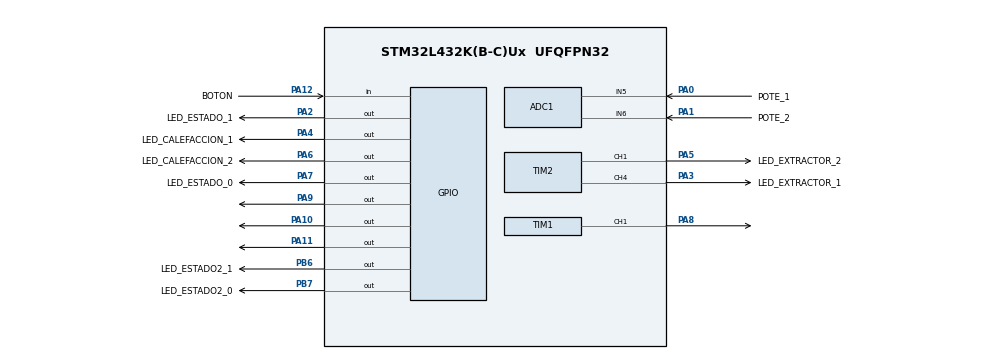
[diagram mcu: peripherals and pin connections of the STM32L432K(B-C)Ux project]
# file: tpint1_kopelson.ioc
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ADC1.Channel-0\#ChannelRegularConversion=ADC_CHANNEL_5
ADC1.NbrOfConversionFlag=1
ADC1.OffsetNumber-0\#ChannelRegularConversion=ADC_OFFSET_NONE
ADC1.Rank-0\#ChannelRegularConversion=1
ADC1.SamplingTime-0\#ChannelRegularConversion=ADC_SAMPLETIME_2CYCLES_5
ADC1.master=1
Mcu.Family=STM32L4
Mcu.Name=STM32L432K(B-C)Ux
Mcu.Package=UFQFPN32
NVIC.PriorityGroup=NVIC_PRIORITYGROUP_4
NVIC.TIM6_DAC_IRQn=true\:0\:0\:false\:false\:true\:true\:true\:true
PA0.GPIO_Label=POTE_1
PA0.Signal=ADCx_IN5
PA1.GPIO_Label=POTE_2
PA1.Signal=ADCx_IN6
PA10.Signal=GPIO_Output
PA11.Signal=GPIO_Output
PA12.GPIO_Label=BOTON
PA12.GPIO_PuPd=GPIO_PULLUP
PA12.Signal=GPIO_Input
PA2.GPIO_Label=LED_ESTADO_1
PA2.Signal=GPIO_Output
PA3.GPIO_Label=LED_EXTRACTOR_1
PA3.Signal=S_TIM2_CH4
PA4.GPIO_Label=LED_CALEFACCION_1
PA4.Signal=GPIO_Output
PA5.GPIO_Label=LED_EXTRACTOR_2
PA5.Signal=S_TIM2_CH1
PA6.GPIO_Label=LED_CALEFACCION_2
PA6.Signal=GPIO_Output
PA7.GPIO_Label=LED_ESTADO_0
PA7.Signal=GPIO_Output
PA8.Signal=S_TIM1_CH1
PA9.Signal=GPIO_Output
PB6.GPIO_FM6=__NULL
PB6.GPIO_Label=LED_ESTADO2_1
PB6.GPIO_Speed=GPIO_SPEED_FREQ_MEDIUM
PB6.Signal=GPIO_Output
PB7.GPIO_FM7=__NULL
PB7.GPIO_Label=LED_ESTADO2_0
PB7.GPIO_Speed=GPIO_SPEED_FREQ_MEDIUM
PB7.Signal=GPIO_Output
ProjectManager.HeapSize=0x200
ProjectManager.StackSize=0x400
ProjectManager.TargetToolchain=STM32CubeIDE
RCC.ADCFreq_Value=32000000
RCC.HSE_VALUE=8000000
RCC.HSI48_VALUE=48000000
RCC.HSI_VALUE=16000000
RCC.LSE_VALUE=32768
RCC.MSI_VALUE=4000000
RCC.PLLSAI1N=16
RCC.USBFreq_Value=32000000
RCC.VCOOutputFreq_Value=32000000
SH.ADCx_IN5.0=ADC1_IN5,IN5-Single-Ended
SH.ADCx_IN6.0=ADC1_IN6,IN6-Single-Ended
SH.S_TIM1_CH1.0=TIM1_CH1,PWM Generation1 CH1
SH.S_TIM2_CH1.0=TIM2_CH1,PWM Generation1 CH1
SH.S_TIM2_CH4.0=TIM2_CH4,PWM Generation4 CH4
TIM1.Channel-PWM\ Generation1\ CH1=TIM_CHANNEL_1
TIM2.AutoReloadPreload=TIM_AUTORELOAD_PRELOAD_DISABLE
TIM2.Channel-PWM\ Generation1\ CH1=TIM_CHANNEL_1
TIM2.Channel-PWM\ Generation4\ CH4=TIM_CHANNEL_4
TIM2.OCFastMode_PWM-PWM\ Generation1\ CH1=TIM_OCFAST_DISABLE
TIM2.OCFastMode_PWM-PWM\ Generation4\ CH4=TIM_OCFAST_DISABLE
VP_TIM6_VS_ClockSourceINT.Mode=Enable_Timer
board=custom

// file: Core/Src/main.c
/* USER CODE BEGIN Header */
/**
  ******************************************************************************
  * @file           : main.c
  * @brief          : Main program body
  ******************************************************************************
  * @attention
  *
  * Copyright (c) 2025 STMicroelectronics.
  * All rights reserved.
  *
  * This software is licensed under terms that can be found in the LICENSE file
  * in the root directory of this software component.
  * If no LICENSE file comes with this software, it is provided AS-IS.
  *
  ******************************************************************************
  */
/* USER CODE END Header */
#include "main.h"

ADC_HandleTypeDef hadc1;

TIM_HandleTypeDef htim1;
TIM_HandleTypeDef htim2;
TIM_HandleTypeDef htim6;

void SystemClock_Config(void);
static void MX_GPIO_Init(void);
static void MX_TIM6_Init(void);
static void MX_ADC1_Init(void);
static void MX_TIM2_Init(void);
static void MX_TIM1_Init(void);

/* USER CODE BEGIN 0 */

int boton, flag = 0;
int16_t datomap1,datomap2,datopote1,datopote2 = 0;
void LeerPote();

void TIM6_DAC_IRQHandler(void)
{
  /* USER CODE BEGIN TIM6_DAC_IRQn 0 */
	 if (TIM6->SR & TIM_SR_UIF) {
	    TIM6->SR &= ~TIM_SR_UIF; // Limpio flag

	 if (flag == 1) {
		 LeerPote();   // solo se activa la lectura del conversor si el boton está encendido. sino no lee.
		               // justamente como lo plantié en el diagrama en el examen teórico.
	 }
}

  /* USER CODE END TIM6_DAC_IRQn 0 */
  HAL_TIM_IRQHandler(&htim6);
  /* USER CODE BEGIN TIM6_DAC_IRQn 1 */

  /* USER CODE END TIM6_DAC_IRQn 1 */
}
/* USER CODE END 0 */

int main(void)
{

  /* MCU Configuration--------------------------------------------------------*/

  /* Reset of all peripherals, Initializes the Flash interface and the Systick. */
  HAL_Init();

  /* Configure the system clock */
  SystemClock_Config();

  /* Initialize all configured peripherals */
  MX_GPIO_Init();
  MX_TIM6_Init();
  MX_ADC1_Init();
  MX_TIM2_Init();
  MX_TIM1_Init();
  /* USER CODE BEGIN 2 */

/* Habilito relojes de buses */

  RCC->AHB2ENR |= RCC_AHB2ENR_GPIOAEN;
  RCC->AHB2ENR |= RCC_AHB2ENR_GPIOBEN;
  RCC->APB1ENR1 |= RCC_APB1ENR1_TIM2EN | RCC_APB1ENR1_TIM6EN;
  RCC->AHB2ENR |= RCC_AHB2ENR_ADCEN;
  RCC->CCIPR |= RCC_CCIPR_ADCSEL;

  //puse estos 4 xq no hay chance de hacer andar los otros 2 pines de led estado q puse anteriormente... y no detecté la falla a tiempo.
  //ACTUALIZACIÓN POST MUESTRA funcionando perfectamente con los nuevos pines asignados
  //ERA QUE INTERNAMENTE ESTABAN CONECTADOS LOS PINES. Entonces al querer tocar de uno movia cosas del otro.

  /* NUEVO LED_ESTADO_0 -- PIN d1 [PA_9] -- SALIDA */

    GPIOA->MODER |= GPIO_MODER_MODE9_0;           //modo de salida, pushpull y que arranque apagado.
    GPIOA->MODER &= ~GPIO_MODER_MODE9_1;
    GPIOA->OTYPER &= ~GPIO_OTYPER_OT9;
    GPIOA->BSRR |= GPIO_BSRR_BR9;

    /* NUEVO LED_ESTADO_1 -- PIN d0 [PA_10] -- SALIDA */

    GPIOA->MODER |= GPIO_MODER_MODE10_0;           //modo de salida, pushpull y que arranque apagado.
    GPIOA->MODER &= ~GPIO_MODER_MODE10_1;
    GPIOA->OTYPER &= ~GPIO_OTYPER_OT10;
    GPIOA->BSRR |= GPIO_BSRR_BR10;

    /* NUEVO LED_CALEF2 -- PIN d0 [PA_11] -- SALIDA */

        GPIOA->MODER |= GPIO_MODER_MODE11_0;           //modo de salida, pushpull y que arranque apagado.
        GPIOA->MODER &= ~GPIO_MODER_MODE11_1;
        GPIOA->OTYPER &= ~GPIO_OTYPER_OT11;
        GPIOA->BSRR |= GPIO_BSRR_BR11;

    /*  NUEVO PA8 -- PIN d9 [PA_8] -- SALIDA PWM AF */
        GPIOA->MODER &= ~GPIO_MODER_MODE8_Msk;               // modo alternate funcion, pushpull
        GPIOA->MODER |= GPIO_MODER_MODE8_1;
        GPIOA->AFR[1] &= ~GPIO_AFRH_AFSEL8_Msk;
        GPIOA->AFR[1] |= (1 << GPIO_AFRH_AFSEL8_Pos);
        GPIOA->OTYPER &= ~GPIO_OTYPER_OT8;
        GPIOA->OSPEEDR |= GPIO_OSPEEDR_OSPEED8_Msk;

/* BOTON (ON/OFF) -- PIN D2 [PA_12] -- ENTRADA */

  GPIOA->MODER &= ~GPIO_MODER_MODE12;   // configuro entrada y pullup con resistencia externa
  GPIOA->PUPDR |= GPIO_PUPDR_PUPD12_0;
  GPIOA->PUPDR &= ~GPIO_PUPDR_PUPD12_1;

/* LED_ESTADO_0 -- PIN A6 [PA_7] -- SALIDA */

  GPIOA->MODER |= GPIO_MODER_MODE7_0;          //modo de salida, pushpull y que arranque apagado.
  GPIOA->MODER &= ~GPIO_MODER_MODE7_1;
  GPIOA->OTYPER &= ~GPIO_OTYPER_OT7;
  GPIOA->BSRR |= GPIO_BSRR_BR7;

/* LED_ESTADO_1 -- PIN A7 [PA_2] -- SALIDA */

  GPIOA->MODER |= GPIO_MODER_MODE2_0;    //modo de salida, pushpull y que arranque apagado.
  GPIOA->MODER &= ~GPIO_MODER_MODE2_1;
  GPIOA->OTYPER &= ~GPIO_OTYPER_OT2;
  GPIOA->BSRR |= GPIO_BSRR_BR2;

/* LED_ESTADO2_0 -- PIN D4 [PB_7] -- SALIDA */

  GPIOB->MODER |= GPIO_MODER_MODE7_0;    //modo de salida, pushpull y que arranque apagado.
  GPIOB->MODER &= ~GPIO_MODER_MODE7_1;
  GPIOB->OTYPER &= ~GPIO_OTYPER_OT7;
  GPIOB->BSRR |= GPIO_BSRR_BR7;

/* LED_ESTADO2_1 -- PIN D5 [PB_6] -- SALIDA */

  GPIOB->MODER |= GPIO_MODER_MODE6_0;  //modo de salida, pushpull y que arranque apagado.
  GPIOB->MODER &= ~GPIO_MODER_MODE6_1;
  GPIOB->OTYPER &= ~GPIO_OTYPER_OT6;
  GPIOB->BSRR |= GPIO_BSRR_BR6;

/* LED_CALEFACCION_1 -- PIN A3 [PA_4] -- SALIDA */

  GPIOA->MODER |= GPIO_MODER_MODE4_0;  //modo de salida, pushpull y que arranque apagado.
  GPIOA->MODER &= ~GPIO_MODER_MODE4_1;
  GPIOA->OTYPER &= ~GPIO_OTYPER_OT4;
  GPIOA->BSRR |= GPIO_BSRR_BR4;

/* LED_CALEFACCION_2 -- PIN A4 [PA_6] -- SALIDA */

  GPIOA->MODER |= GPIO_MODER_MODE6_0;  //modo de salida, pushpull y que arranque apagado.
  GPIOA->MODER &= ~GPIO_MODER_MODE6_1;
  GPIOA->OTYPER &= ~GPIO_OTYPER_OT6;
  GPIOA->BSRR |= GPIO_BSRR_BR6;

/* LED_EXTRACTOR_1 -- PIN A2 [PA_3] -- SALIDA PWM AF */

  GPIOA->MODER |= GPIO_MODER_MODE3_1;           // Modo alternate function y pushpull
  GPIOA->MODER &= ~GPIO_MODER_MODE3_0;
  GPIOA->AFR[0] |=  (1 << GPIO_AFRL_AFSEL3_Pos);
  GPIOA->OTYPER &= ~GPIO_OTYPER_OT3;

/* LED_EXTRACTOR_2 -- PIN A5 [PA_5] -- SALIDA PWM AF */

  GPIOA->MODER |= GPIO_MODER_MODE5_1;              // Modo alternate function y pushpull
  GPIOA->MODER &= ~GPIO_MODER_MODE5_0;
  GPIOA->AFR[0] |= (1 << GPIO_AFRL_AFSEL5_Pos);
  GPIOA->OTYPER &= ~GPIO_OTYPER_OT5;

/* POTE_1 -- PIN A0 [PA_0] -- ADC ENTRADA */

  GPIOA->MODER |= GPIO_MODER_MODE0;             // PA0 en modo analógico
  GPIOA->PUPDR &= ~GPIO_PUPDR_PUPD0;            // Sin pull-up/down

/* POTE_2 -- PIN A1 [PA_1] -- ADC ENTRADA */

  GPIOA->MODER |= GPIO_MODER_MODE1;             // PA1 en modo analógico
  GPIOA->PUPDR &= ~GPIO_PUPDR_PUPD1;            // Sin pull-up/down

  /* Inicializo los timers aca */

  // TIM2 (1khz ya q en el examen calculé eso, aprovecho los valores dados ja!)
  // los del tim2 canal 1 estan comentados porque use otro pin para el pwm. que es el tim1. asi q no me sirve,
  //esto es por lo q explique arriba, pero podría haber funcionado tranquilamente.
  TIM2->PSC = 39;
  TIM2->ARR = 99;
//  TIM2->CCR1 = 0;
  TIM2->CCR4 = 0; // 50% duty por defecto
//  TIM2->CCMR1 |= TIM_CCMR1_OC1M_1 | TIM_CCMR1_OC1M_2; // PWM mode 1
//  TIM2->CCMR1 |= TIM_CCMR1_OC1PE;                     // Preload enable
  TIM2->CCMR2 |= TIM_CCMR2_OC4M_1 | TIM_CCMR2_OC4M_2; // PWM mode 1
  TIM2->CCMR2 |= TIM_CCMR2_OC4PE;    // Preload enable
  TIM2->CCER |= TIM_CCER_CC4E;       // Enable output
//  TIM2->CCER  |= TIM_CCER_CC1E;      // Enable output
  TIM2->CR1 |= TIM_CR1_CEN;          // Enable timer

// TIM6 (cada medio seg) para lectura del adc
  NVIC->ISER[1] |= (1 << 22);
  TIM6->PSC = 999;
  TIM6->ARR = 1999;
  TIM6->DIER |= TIM_DIER_UIE;
  TIM6->CR1 |= TIM_CR1_CEN;

//TIM1 prueba para el pin nuevo q agregué para reemplazar el anterior. es tim1 xq a ese pin le corresponde tim1_ch1
  TIM1->PSC = 39;
  TIM1->ARR = 99;
  TIM1->CCR1 = 0;  // 50% duty cycle
  TIM1->CCMR1 &= ~TIM_CCMR1_OC1M;  // Limpio los bits del modo
  TIM1->CCMR1 |= (6 << TIM_CCMR1_OC1M_Pos); // PWM mode 1
  TIM1->CCMR1 |= TIM_CCMR1_OC1PE;  // Preload enable
  TIM1->CCER |= TIM_CCER_CC1E;     // Habilita la salida del canal 1
  TIM1->CR1  |= TIM_CR1_CEN;       // Habilita el contador
  TIM1->BDTR |= TIM_BDTR_MOE;      // Habilita salidas del timer (necesario en timers avanzados como TIM1)

  //Configuro ADC
     ADC1->CR &=~ADC_CR_DEEPPWD;//Para que salga del estado deep sleep
     ADC1->CR |=ADC_CR_ADVREGEN;//REG INT DE VOLTAJE
     HAL_Delay(50);//delay para que se estabilice el reg de voltaje antes de convertir
     ADC1->CFGR &= ~ADC_CFGR_EXTEN;
     ADC1->CFGR &= ~ADC_CFGR_RES; //res de 12 bits
     ADC1->CFGR &= ~ADC_CFGR_ALIGN; //ALINEACION X DER
     ADC1->CFGR &= ~ADC_CFGR_CONT; //SETEO SINGLE CONVERSION

  // config entradas
     ADC1->SMPR1 |= (3 << ADC_SMPR1_SMP5_Pos); // Por ejemplo 24.5 ciclos
     ADC1->SMPR1 |= (3 << ADC_SMPR1_SMP6_Pos); // Igual tiempo para ambos
     ADC1->SQR1 &= ~ADC_SQR1_L;
     ADC1->SQR1 |= ADC_SQR1_L_0;
     ADC1->SQR1 &= ~ADC_SQR1_SQ1;
     ADC1->SQR1 |= (5 << ADC_SQR1_SQ1_Pos);    // canal 5
     ADC1->SQR1 &= ~ADC_SQR1_SQ2;
     ADC1->SQR1 |= (6 << ADC_SQR1_SQ2_Pos);    // canal 6

     ADC1->CR |=ADC_CR_ADEN;

  /* USER CODE END 2 */

  /* Infinite loop */
  /* USER CODE BEGIN WHILE */
  while (1)
  {
	  boton = HAL_GPIO_ReadPin(GPIOA,GPIO_PIN_12);

	  if (boton == GPIO_PIN_RESET) // Botón presionado (0 lógico ya que tengo logica pullup)
	          {
		       flag = 1; // activa la conversión

		       // esto es para la del ambiente 1
		       if (datomap1 <= 5) {
		                      TIM2->CCR4 = 0; //pwm off
		                      HAL_GPIO_WritePin(GPIOA, GPIO_PIN_4, GPIO_PIN_SET); //led calefaccion
		                      HAL_GPIO_WritePin(GPIOA, GPIO_PIN_2, GPIO_PIN_SET); //led estado 1
		                      HAL_GPIO_WritePin(GPIOA, GPIO_PIN_7, GPIO_PIN_RESET); // led estado 0
		                      }

		                      if ((datomap1 > 5) & (datomap1 <=20) ) {
		                      TIM2->CCR4 = 0; //pwm off
		                      HAL_GPIO_WritePin(GPIOA, GPIO_PIN_4, GPIO_PIN_RESET); //led calefaccion
		                      HAL_GPIO_WritePin(GPIOA, GPIO_PIN_2, GPIO_PIN_RESET); //led estado 1
		                      HAL_GPIO_WritePin(GPIOA, GPIO_PIN_7, GPIO_PIN_SET); //led estado 0

		                      }

		                      if ((datomap1 > 20) & (datomap1 <=30) ) {
		                      TIM2->CCR4 = 40; //pwm 40%
		                      HAL_GPIO_WritePin(GPIOA, GPIO_PIN_4, GPIO_PIN_RESET); //led calefaccion
		                      HAL_GPIO_WritePin(GPIOA, GPIO_PIN_2, GPIO_PIN_SET); //led estado 1
		                      HAL_GPIO_WritePin(GPIOA, GPIO_PIN_7, GPIO_PIN_SET); //led estado 0
		                      }

		                      if ((datomap1 > 30) & (datomap1 <=35) ) {
		                      TIM2->CCR4 = 60; //pwm 60%
		                      HAL_GPIO_WritePin(GPIOA, GPIO_PIN_4, GPIO_PIN_RESET); //led calefaccion
		                      HAL_GPIO_WritePin(GPIOA, GPIO_PIN_2, GPIO_PIN_SET); //led estado 1
		                      HAL_GPIO_WritePin(GPIOA, GPIO_PIN_7, GPIO_PIN_SET); //led estado 0
		                      }

		                      if (datomap1 > 35) {
		                      TIM2->CCR4 = 100; //pwm 100%
		                      HAL_GPIO_WritePin(GPIOA, GPIO_PIN_4, GPIO_PIN_RESET); //led calefaccion
		                      HAL_GPIO_WritePin(GPIOA, GPIO_PIN_2, GPIO_PIN_SET); //led estado 1
		                      HAL_GPIO_WritePin(GPIOA, GPIO_PIN_7, GPIO_PIN_SET); //led estado 0
		                      }

               // esto es para la del ambiente 2
               // aqui tmb deje comentado lo de los pines que use antes, para que quede en evidencia de que intenté pero bueno, ya era una cuestion interna al stm32
               // la logica era correcta y estaba todoo bien seteado.

               if (datomap2 <= 5) {
//                                 TIM2->CCR1 = 0; // pwm off
//                                  HAL_GPIO_WritePin(GPIOA, GPIO_PIN_6, GPIO_PIN_SET); // led calefaccion2
//                                  HAL_GPIO_WritePin(GPIOB, GPIO_PIN_6, GPIO_PIN_SET); // led estado2 1
//                                  HAL_GPIO_WritePin(GPIOB, GPIO_PIN_7, GPIO_PIN_RESET); // led estado2 0
            	   TIM1->CCR1 = 0; // pwm off
            	   HAL_GPIO_WritePin(GPIOA, GPIO_PIN_11, GPIO_PIN_SET); //nuevo led calefaccion
            	   HAL_GPIO_WritePin(GPIOA, GPIO_PIN_9, GPIO_PIN_RESET); //NUEVO led estado2
            	   HAL_GPIO_WritePin(GPIOA, GPIO_PIN_10, GPIO_PIN_SET); //NUEVO led estado2
                              }

               if ((datomap2 > 5) & (datomap2 <= 20)) {
//                                  TIM2->CCR1 = 0; // pwm off
//                                  HAL_GPIO_WritePin(GPIOA, GPIO_PIN_6, GPIO_PIN_RESET); // led calefaccion2
//                                  HAL_GPIO_WritePin(GPIOB, GPIO_PIN_6, GPIO_PIN_RESET); // led estado2 1
//                                  HAL_GPIO_WritePin(GPIOB, GPIO_PIN_7, GPIO_PIN_SET); // led estado2 0
            	   TIM1->CCR1 = 0; // pwm off
            	   HAL_GPIO_WritePin(GPIOA, GPIO_PIN_11, GPIO_PIN_RESET); //nuevo led calefaccion
            	   HAL_GPIO_WritePin(GPIOA, GPIO_PIN_9, GPIO_PIN_SET);//NUEVO led estado2
            	   HAL_GPIO_WritePin(GPIOA, GPIO_PIN_10, GPIO_PIN_RESET);//NUEVO led estado2
                              }

               if ((datomap2 > 20) & (datomap2 <= 30)) {
//                                  TIM2->CCR1 = 40; // pwm 40%
//                                  HAL_GPIO_WritePin(GPIOA, GPIO_PIN_6, GPIO_PIN_RESET); // led calefaccion2
//                                  HAL_GPIO_WritePin(GPIOB, GPIO_PIN_6, GPIO_PIN_SET); // led estado2 1
//                                  HAL_GPIO_WritePin(GPIOB, GPIO_PIN_7, GPIO_PIN_SET); // led estado2 0
            	   TIM1->CCR1 = 40; // pwm 40%
            	   HAL_GPIO_WritePin(GPIOA, GPIO_PIN_11, GPIO_PIN_RESET); //nuevo led calefaccion
            	   HAL_GPIO_WritePin(GPIOA, GPIO_PIN_9, GPIO_PIN_SET);//NUEVO led estado2
            	   HAL_GPIO_WritePin(GPIOA, GPIO_PIN_10, GPIO_PIN_SET);//NUEVO led estado2
                              }

              if ((datomap2 > 30) & (datomap2 <= 35)) {
//                                  TIM2->CCR1 = 60; // pwm 60%
//                                  HAL_GPIO_WritePin(GPIOA, GPIO_PIN_6, GPIO_PIN_RESET); // led calefaccion2
//                                  HAL_GPIO_WritePin(GPIOB, GPIO_PIN_6, GPIO_PIN_SET); // led estado2 1
//                                  HAL_GPIO_WritePin(GPIOB, GPIO_PIN_7, GPIO_PIN_SET); // led estado2 0
            	  TIM1->CCR1 = 60; // pwm 60%
            	  HAL_GPIO_WritePin(GPIOA, GPIO_PIN_11, GPIO_PIN_RESET); //nuevo led calefaccion
            	  HAL_GPIO_WritePin(GPIOA, GPIO_PIN_9, GPIO_PIN_SET);//NUEVO led estado2
            	  HAL_GPIO_WritePin(GPIOA, GPIO_PIN_10, GPIO_PIN_SET);//NUEVO led estado2
                              }

              if (datomap2 > 35) {
//                                  TIM2->CCR1 = 100; // pwm 100%
//                                  HAL_GPIO_WritePin(GPIOA, GPIO_PIN_6, GPIO_PIN_RESET); // led calefaccion2
//                                  HAL_GPIO_WritePin(GPIOB, GPIO_PIN_6, GPIO_PIN_SET); // led estado2 1
//                                  HAL_GPIO_WritePin(GPIOB, GPIO_PIN_7, GPIO_PIN_SET); // led estado2 0
            	  TIM1->CCR1 = 100; // pwm 100%
            	  HAL_GPIO_WritePin(GPIOA, GPIO_PIN_11, GPIO_PIN_RESET); //nuevo led calefaccion
            	  HAL_GPIO_WritePin(GPIOA, GPIO_PIN_9, GPIO_PIN_SET);//NUEVO led estado2
            	  HAL_GPIO_WritePin(GPIOA, GPIO_PIN_10, GPIO_PIN_SET);//NUEVO led estado2

                              }
	          }

	   else // Botón no presionado (1 lógico) BASICAMENTE APAGO TODO.
		   {
	            flag = 0;
	            TIM2->CCR4 = 0; //pwm 0%
	            TIM1->CCR1 = 0; //pwm 0%
//	            TIM2->CCR1 = 0; //pwm 0%
	            HAL_GPIO_WritePin(GPIOA, GPIO_PIN_4, GPIO_PIN_RESET); //led calefaccion
	            HAL_GPIO_WritePin(GPIOA, GPIO_PIN_2, GPIO_PIN_RESET); //led estado 1
	            HAL_GPIO_WritePin(GPIOA, GPIO_PIN_7, GPIO_PIN_RESET); //led estado 0
	            HAL_GPIO_WritePin(GPIOA, GPIO_PIN_6, GPIO_PIN_RESET); //led calefaccion2
                HAL_GPIO_WritePin(GPIOB, GPIO_PIN_6, GPIO_PIN_RESET); //led estado2 1
	            HAL_GPIO_WritePin(GPIOB, GPIO_PIN_7, GPIO_PIN_RESET); //led estado2 0
	            HAL_GPIO_WritePin(GPIOA, GPIO_PIN_9, GPIO_PIN_RESET);//NUEVO led estado2
	            HAL_GPIO_WritePin(GPIOA, GPIO_PIN_10, GPIO_PIN_RESET);//NUEVO led estado2
	            HAL_GPIO_WritePin(GPIOA, GPIO_PIN_11, GPIO_PIN_RESET);//nuevo led calefaccion
	          }

    /* USER CODE END WHILE */

  }
}

void SystemClock_Config(void)
{
  RCC_OscInitTypeDef RCC_OscInitStruct = {0};
  RCC_ClkInitTypeDef RCC_ClkInitStruct = {0};

  /** Configure the main internal regulator output voltage
  */
  if (HAL_PWREx_ControlVoltageScaling(PWR_REGULATOR_VOLTAGE_SCALE1) != HAL_OK)
  {
    Error_Handler();
  }

  /** Initializes the RCC Oscillators according to the specified parameters
  * in the RCC_OscInitTypeDef structure.
  */
  RCC_OscInitStruct.OscillatorType = RCC_OSCILLATORTYPE_MSI;
  RCC_OscInitStruct.MSIState = RCC_MSI_ON;
  RCC_OscInitStruct.MSICalibrationValue = 0;
  RCC_OscInitStruct.MSIClockRange = RCC_MSIRANGE_6;
  RCC_OscInitStruct.PLL.PLLState = RCC_PLL_NONE;
  if (HAL_RCC_OscConfig(&RCC_OscInitStruct) != HAL_OK)
  {
    Error_Handler();
  }

  /** Initializes the CPU, AHB and APB buses clocks
  */
  RCC_ClkInitStruct.ClockType = RCC_CLOCKTYPE_HCLK|RCC_CLOCKTYPE_SYSCLK
                              |RCC_CLOCKTYPE_PCLK1|RCC_CLOCKTYPE_PCLK2;
  RCC_ClkInitStruct.SYSCLKSource = RCC_SYSCLKSOURCE_MSI;
  RCC_ClkInitStruct.AHBCLKDivider = RCC_SYSCLK_DIV1;
  RCC_ClkInitStruct.APB1CLKDivider = RCC_HCLK_DIV1;
  RCC_ClkInitStruct.APB2CLKDivider = RCC_HCLK_DIV1;

  if (HAL_RCC_ClockConfig(&RCC_ClkInitStruct, FLASH_LATENCY_0) != HAL_OK)
  {
    Error_Handler();
  }
}

static void MX_ADC1_Init(void)
{

  ADC_ChannelConfTypeDef sConfig = {0};

  /** Common config
  */
  hadc1.Instance = ADC1;
  hadc1.Init.ClockPrescaler = ADC_CLOCK_ASYNC_DIV1;
  hadc1.Init.Resolution = ADC_RESOLUTION_12B;
  hadc1.Init.DataAlign = ADC_DATAALIGN_RIGHT;
  hadc1.Init.ScanConvMode = ADC_SCAN_DISABLE;
  hadc1.Init.EOCSelection = ADC_EOC_SINGLE_CONV;
  hadc1.Init.LowPowerAutoWait = DISABLE;
  hadc1.Init.ContinuousConvMode = DISABLE;
  hadc1.Init.NbrOfConversion = 1;
  hadc1.Init.DiscontinuousConvMode = DISABLE;
  hadc1.Init.ExternalTrigConv = ADC_SOFTWARE_START;
  hadc1.Init.ExternalTrigConvEdge = ADC_EXTERNALTRIGCONVEDGE_NONE;
  hadc1.Init.DMAContinuousRequests = DISABLE;
  hadc1.Init.Overrun = ADC_OVR_DATA_PRESERVED;
  hadc1.Init.OversamplingMode = DISABLE;
  if (HAL_ADC_Init(&hadc1) != HAL_OK)
  {
    Error_Handler();
  }

  /** Configure Regular Channel
  */
  sConfig.Channel = ADC_CHANNEL_5;
  sConfig.Rank = ADC_REGULAR_RANK_1;
  sConfig.SamplingTime = ADC_SAMPLETIME_2CYCLES_5;
  sConfig.SingleDiff = ADC_SINGLE_ENDED;
  sConfig.OffsetNumber = ADC_OFFSET_NONE;
  sConfig.Offset = 0;
  if (HAL_ADC_ConfigChannel(&hadc1, &sConfig) != HAL_OK)
  {
    Error_Handler();
  }

}

static void MX_TIM1_Init(void)
{

  TIM_MasterConfigTypeDef sMasterConfig = {0};
  TIM_OC_InitTypeDef sConfigOC = {0};
  TIM_BreakDeadTimeConfigTypeDef sBreakDeadTimeConfig = {0};

  htim1.Instance = TIM1;
  htim1.Init.Prescaler = 0;
  htim1.Init.CounterMode = TIM_COUNTERMODE_UP;
  htim1.Init.Period = 65535;
  htim1.Init.ClockDivision = TIM_CLOCKDIVISION_DIV1;
  htim1.Init.RepetitionCounter = 0;
  htim1.Init.AutoReloadPreload = TIM_AUTORELOAD_PRELOAD_DISABLE;
  if (HAL_TIM_PWM_Init(&htim1) != HAL_OK)
  {
    Error_Handler();
  }
  sMasterConfig.MasterOutputTrigger = TIM_TRGO_RESET;
  sMasterConfig.MasterOutputTrigger2 = TIM_TRGO2_RESET;
  sMasterConfig.MasterSlaveMode = TIM_MASTERSLAVEMODE_DISABLE;
  if (HAL_TIMEx_MasterConfigSynchronization(&htim1, &sMasterConfig) != HAL_OK)
  {
    Error_Handler();
  }
  sConfigOC.OCMode = TIM_OCMODE_PWM1;
  sConfigOC.Pulse = 0;
  sConfigOC.OCPolarity = TIM_OCPOLARITY_HIGH;
  sConfigOC.OCNPolarity = TIM_OCNPOLARITY_HIGH;
  sConfigOC.OCFastMode = TIM_OCFAST_DISABLE;
  sConfigOC.OCIdleState = TIM_OCIDLESTATE_RESET;
  sConfigOC.OCNIdleState = TIM_OCNIDLESTATE_RESET;
  if (HAL_TIM_PWM_ConfigChannel(&htim1, &sConfigOC, TIM_CHANNEL_1) != HAL_OK)
  {
    Error_Handler();
  }
  sBreakDeadTimeConfig.OffStateRunMode = TIM_OSSR_DISABLE;
  sBreakDeadTimeConfig.OffStateIDLEMode = TIM_OSSI_DISABLE;
  sBreakDeadTimeConfig.LockLevel = TIM_LOCKLEVEL_OFF;
  sBreakDeadTimeConfig.DeadTime = 0;
  sBreakDeadTimeConfig.BreakState = TIM_BREAK_DISABLE;
  sBreakDeadTimeConfig.BreakPolarity = TIM_BREAKPOLARITY_HIGH;
  sBreakDeadTimeConfig.BreakFilter = 0;
  sBreakDeadTimeConfig.Break2State = TIM_BREAK2_DISABLE;
  sBreakDeadTimeConfig.Break2Polarity = TIM_BREAK2POLARITY_HIGH;
  sBreakDeadTimeConfig.Break2Filter = 0;
  sBreakDeadTimeConfig.AutomaticOutput = TIM_AUTOMATICOUTPUT_DISABLE;
  if (HAL_TIMEx_ConfigBreakDeadTime(&htim1, &sBreakDeadTimeConfig) != HAL_OK)
  {
    Error_Handler();
  }
  HAL_TIM_MspPostInit(&htim1);

}

static void MX_TIM2_Init(void)
{

  TIM_MasterConfigTypeDef sMasterConfig = {0};
  TIM_OC_InitTypeDef sConfigOC = {0};

  htim2.Instance = TIM2;
  htim2.Init.Prescaler = 0;
  htim2.Init.CounterMode = TIM_COUNTERMODE_UP;
  htim2.Init.Period = 4294967295;
  htim2.Init.ClockDivision = TIM_CLOCKDIVISION_DIV1;
  htim2.Init.AutoReloadPreload = TIM_AUTORELOAD_PRELOAD_DISABLE;
  if (HAL_TIM_PWM_Init(&htim2) != HAL_OK)
  {
    Error_Handler();
  }
  sMasterConfig.MasterOutputTrigger = TIM_TRGO_RESET;
  sMasterConfig.MasterSlaveMode = TIM_MASTERSLAVEMODE_DISABLE;
  if (HAL_TIMEx_MasterConfigSynchronization(&htim2, &sMasterConfig) != HAL_OK)
  {
    Error_Handler();
  }
  sConfigOC.OCMode = TIM_OCMODE_PWM1;
  sConfigOC.Pulse = 0;
  sConfigOC.OCPolarity = TIM_OCPOLARITY_HIGH;
  sConfigOC.OCFastMode = TIM_OCFAST_DISABLE;
  if (HAL_TIM_PWM_ConfigChannel(&htim2, &sConfigOC, TIM_CHANNEL_1) != HAL_OK)
  {
    Error_Handler();
  }
  if (HAL_TIM_PWM_ConfigChannel(&htim2, &sConfigOC, TIM_CHANNEL_4) != HAL_OK)
  {
    Error_Handler();
  }
  HAL_TIM_MspPostInit(&htim2);

}

static void MX_TIM6_Init(void)
{

  TIM_MasterConfigTypeDef sMasterConfig = {0};

  htim6.Instance = TIM6;
  htim6.Init.Prescaler = 0;
  htim6.Init.CounterMode = TIM_COUNTERMODE_UP;
  htim6.Init.Period = 65535;
  htim6.Init.AutoReloadPreload = TIM_AUTORELOAD_PRELOAD_DISABLE;
  if (HAL_TIM_Base_Init(&htim6) != HAL_OK)
  {
    Error_Handler();
  }
  sMasterConfig.MasterOutputTrigger = TIM_TRGO_RESET;
  sMasterConfig.MasterSlaveMode = TIM_MASTERSLAVEMODE_DISABLE;
  if (HAL_TIMEx_MasterConfigSynchronization(&htim6, &sMasterConfig) != HAL_OK)
  {
    Error_Handler();
  }

}

static void MX_GPIO_Init(void)
{
  GPIO_InitTypeDef GPIO_InitStruct = {0};

  /* GPIO Ports Clock Enable */
  __HAL_RCC_GPIOA_CLK_ENABLE();
  __HAL_RCC_GPIOB_CLK_ENABLE();

  /*Configure GPIO pin Output Level */
  HAL_GPIO_WritePin(GPIOA, LED_ESTADO_1_Pin|LED_CALEFACCION_1_Pin|LED_CALEFACCION_2_Pin|LED_ESTADO_0_Pin
                          |GPIO_PIN_9|GPIO_PIN_10|GPIO_PIN_11, GPIO_PIN_RESET);

  /*Configure GPIO pin Output Level */
  HAL_GPIO_WritePin(GPIOB, LED_ESTADO2_1_Pin|LED_ESTADO2_0_Pin, GPIO_PIN_RESET);

  /*Configure GPIO pins : LED_ESTADO_1_Pin LED_CALEFACCION_1_Pin LED_CALEFACCION_2_Pin LED_ESTADO_0_Pin
                           PA9 PA10 PA11 */
  GPIO_InitStruct.Pin = LED_ESTADO_1_Pin|LED_CALEFACCION_1_Pin|LED_CALEFACCION_2_Pin|LED_ESTADO_0_Pin
                          |GPIO_PIN_9|GPIO_PIN_10|GPIO_PIN_11;
  GPIO_InitStruct.Mode = GPIO_MODE_OUTPUT_PP;
  GPIO_InitStruct.Pull = GPIO_NOPULL;
  GPIO_InitStruct.Speed = GPIO_SPEED_FREQ_LOW;
  HAL_GPIO_Init(GPIOA, &GPIO_InitStruct);

  /*Configure GPIO pin : BOTON_Pin */
  GPIO_InitStruct.Pin = BOTON_Pin;
  GPIO_InitStruct.Mode = GPIO_MODE_INPUT;
  GPIO_InitStruct.Pull = GPIO_PULLUP;
  HAL_GPIO_Init(BOTON_GPIO_Port, &GPIO_InitStruct);

  /*Configure GPIO pins : LED_ESTADO2_1_Pin LED_ESTADO2_0_Pin */
  GPIO_InitStruct.Pin = LED_ESTADO2_1_Pin|LED_ESTADO2_0_Pin;
  GPIO_InitStruct.Mode = GPIO_MODE_OUTPUT_PP;
  GPIO_InitStruct.Pull = GPIO_NOPULL;
  GPIO_InitStruct.Speed = GPIO_SPEED_FREQ_MEDIUM;
  HAL_GPIO_Init(GPIOB, &GPIO_InitStruct);

}

/* USER CODE BEGIN 4 */
void LeerPote(void) {
// basicamente la funcion esta hace la lectura de ambos potes, primero le un pote espera a que convierta
// y luego guarda el valor, limpio, selecciono el otro canal del adc y convierto en el otro y guardo el valor.

	ADC1->SQR1 &= ~ ADC_SQR1_SQ1; //LIMPIO
    ADC1->SQR1 = (5 << ADC_SQR1_SQ1_Pos);  // Canal 5 en la primera conversión
    ADC1->CR |= ADC_CR_ADSTART;            // Iniciar conversión

    while ((ADC1->ISR & ADC_ISR_EOC) == 0) {}    // Esperar fin de conversión

    datopote1 = ADC1->DR;
    datomap1 = ( (datopote1*120) / 4095 ) - 20 ; // mapeo para que vaya de  -20°C a 100°C asi es más visual para que el if sea mas legible.

    ADC1->SQR1 &= ~ ADC_SQR1_SQ1; //LIMPIO
    ADC1->SQR1 = (6 << ADC_SQR1_SQ1_Pos);  // Canal 6 en la primera conversión
    ADC1->CR |= ADC_CR_ADSTART;            // Iniciar conversión

    while (!(ADC1->ISR & ADC_ISR_EOC));    // Esperar fin de conversión

    datopote2 = ADC1->DR;
    datomap2 = ( (datopote2*120) / 4095 ) - 20 ; // mapeo para que vaya de  -20°C a 100°C asi es más visual para que el if sea mas legible.

}

/* USER CODE END 4 */

void Error_Handler(void)
{
  __disable_irq();
  while (1)
  {
  }
}
